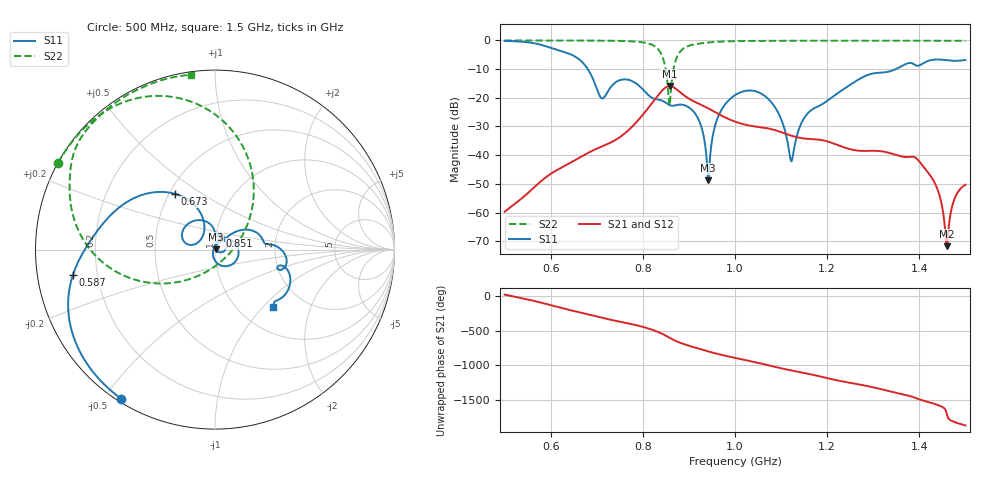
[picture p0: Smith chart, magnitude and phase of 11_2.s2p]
! TOUCHSTONE file generated by CST MICROWAVE STUDIO
! Date and time: Wed Oct 28 19:35:15 2020
! Project name: Scenario_1_Circular_Tissue_out_of_Line_v2.cst
! Parameters = {dy1=-173; L_HA=400; MT=2.54; Rad_Dielectric=30; Rad_Lower=7.3; Rad_Upper=30; a_HA=580; a_WG=246; b_HA=500; b_WG=121; c_HA=0; c_WG=187; d_feed=85; dx1=346; h_feed=15; h_lower=18; h_upper=40}
! Header version: 2018
! Port assignment regex: !\s*Touchstone port\s*([0-9]+)\s*=\s*(CST MWS port|CST DS port)\s*([0-9]+|Zmin|Zmax)\s*\(\"(.*)\"\)(\s*mode\s*([0-9]+))?.*
! Touchstone port assignment:
! Touchstone port 1 = CST MWS port 1 ("")
! Touchstone port 2 = CST MWS port 2 ("")
# GHz S DB R 50
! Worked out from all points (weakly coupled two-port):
!   1003 points, 500 MHz to 1.5 GHz, reference 50 ohm
!   highest |S21| = -15.92 dB at 858 MHz (marker M1); lowest = -71.7 dB at 1.46 GHz (marker M2)
!   lowest |S11| = -48.8 dB at 942 MHz (marker M3), VSWR 1.01, Z = 50.3 + j0.154 ohm
!   |S11| at or under -10 dB: 680.5 MHz to 1.349 GHz (668.4 MHz wide, 65.9 % of centre)
!   |S22| runs from -22.8 to 0.0 dB; largest |S21 - S12| = 3.6e-05
!   S11 on the Smith chart (normalised r, x): 500 MHz: 0.01, -0.55; 587 MHz: 0.11, -0.09; 673 MHz: 0.54, +0.39; 851 MHz: 1.04, +0.16; 1.5 GHz: 1.42, -1.15
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0.5  -0.16 -122.3  -59.71 19.2  -59.71 19.2  -0.01 151.1
0.587  -1.89 -169.9  -48.03 -111.7  -48.03 -111.7  -0.02 145.1
0.667  -7.33 131.7  -40.44 114.6  -40.44 114.6  -0.04 138.4
0.673  -8.36 125.6  -39.90 104.8  -39.90 104.8  -0.04 137.8
0.711  -20.23 140.6  -36.99 43.2  -36.99 43.2  -0.08 133.5
0.762  -13.57 141.4  -32.25 -27.6  -32.25 -27.6  -0.21 125.0
0.834  -20.65 85.8  -18.96 -164.4  -18.96 -164.4  -3.21 83.8
0.851  -21.83 70.4  -16.25 140.4  -16.25 140.4  -11.51 42.9
0.858  -22.55 66.5  -15.92 114.8  -15.92 114.8  -22.79 -52.1
0.877  -22.40 52.7  -17.55 52.9  -17.55 52.9  -4.85 -168.1
0.915  -25.85 -10.0  -21.58 -30.1  -21.58 -30.1  -1.26 159.3
0.942  -48.79 24.9  -23.69 -82.2  -23.69 -82.2  -0.73 151.1
0.962  -27.16 77.2  -25.47 -117.7  -25.47 -117.7  -0.48 146.8
1  -19.08 25.1  -28.31 -175.4  -28.31 -175.4  -0.25 140.4
1.076  -21.04 -73.0  -30.82 72.6  -30.82 72.6  -0.15 131.9
1.122  -42.11 163.6  -33.19 3.6  -33.19 3.6  -0.11 127.8
1.167  -24.13 48.6  -34.40 -56.2  -34.40 -56.2  -0.10 124.2
1.334  -10.85 6.5  -39.18 65.3  -39.18 65.3  -0.08 111.5
1.423  -6.95 -20.9  -46.88 -98.7  -46.88 -98.7  -0.10 104.4
1.46  -6.92 -38.2  -71.73 84.0  -71.70 83.7  -0.12 101.3
1.476  -7.11 -41.1  -55.40 -20.1  -55.34 -20.3  -0.13 100.0
1.5  -6.83 -44.4  -50.32 -70.7  -50.27 -71.3  -0.14 97.9
